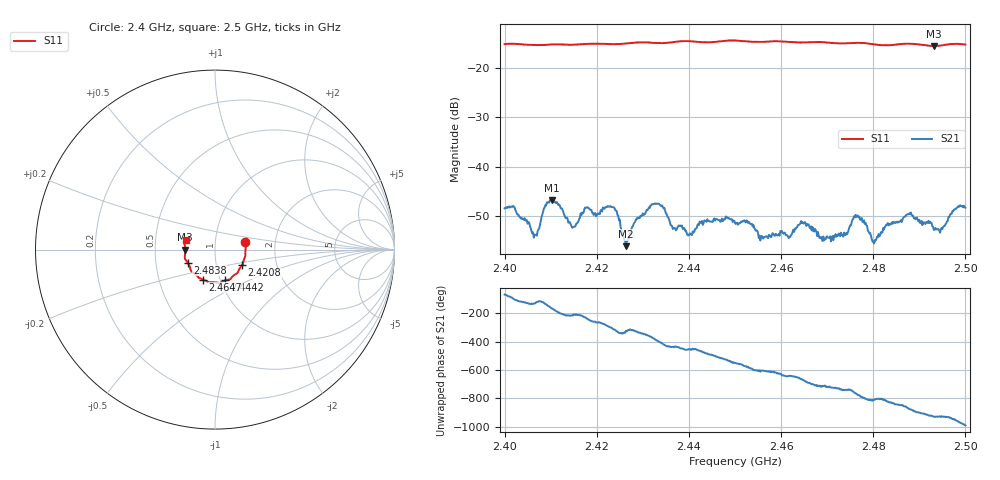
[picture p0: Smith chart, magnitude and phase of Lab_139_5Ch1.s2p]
# Hz S RI R 50
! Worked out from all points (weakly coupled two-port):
!   601 points, 2.4 GHz to 2.5 GHz, reference 50 ohm
!   highest |S21| = -46.70 dB at 2.4103 GHz (marker M1); lowest = -56.0 dB at 2.4263 GHz (marker M2)
!   lowest |S11| = -15.6 dB at 2.4932 GHz (marker M3), VSWR 1.40, Z = 35.8 - j0.0769 ohm
!   |S11| at or under -10 dB: start of sweep to end of sweep
!   S12 and S22 are empty: the file has one direction only
!   S11 on the Smith chart (normalised r, x): 2.4 GHz: 1.40, +0.12; 2.4208 GHz: 1.33, -0.24; 2.4442 GHz: 1.05, -0.37; 2.4647 GHz: 0.83, -0.29; 2.4838 GHz: 0.73, -0.11; 2.5 GHz: 0.72, +0.08
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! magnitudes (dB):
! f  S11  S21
! 2.4 GHz  -15.2  -48.4
! 2.4065 GHz  -15.4  -53.7
! 2.4103 GHz  -15.3  -46.7
! 2.4148 GHz  -15.4  -52.2
! 2.4167 GHz  -15.3  -49.7
! 2.4208 GHz  -15.2  -48.8
! 2.4238 GHz  -15.2  -48.3
! 2.4263 GHz  -15.1  -56.0
! 2.4333 GHz  -15.0  -47.4
! 2.4402 GHz  -14.6  -53.4
! 2.4442 GHz  -14.9  -51.0
! 2.45 GHz  -14.5  -51.3
! 2.4557 GHz  -14.8  -54.0
! 2.4647 GHz  -14.9  -51.1
! 2.4667 GHz  -14.8  -52.9
! 2.4712 GHz  -15.0  -54.0
! 2.4765 GHz  -15.0  -49.8
! 2.4802 GHz  -15.3  -55.5
! 2.4833 GHz  -15.5  -51.8
! 2.4838 GHz  -15.4  -51.4
! 2.4932 GHz  -15.6  -52.8
! 2.5 GHz  -15.3  -48.3
